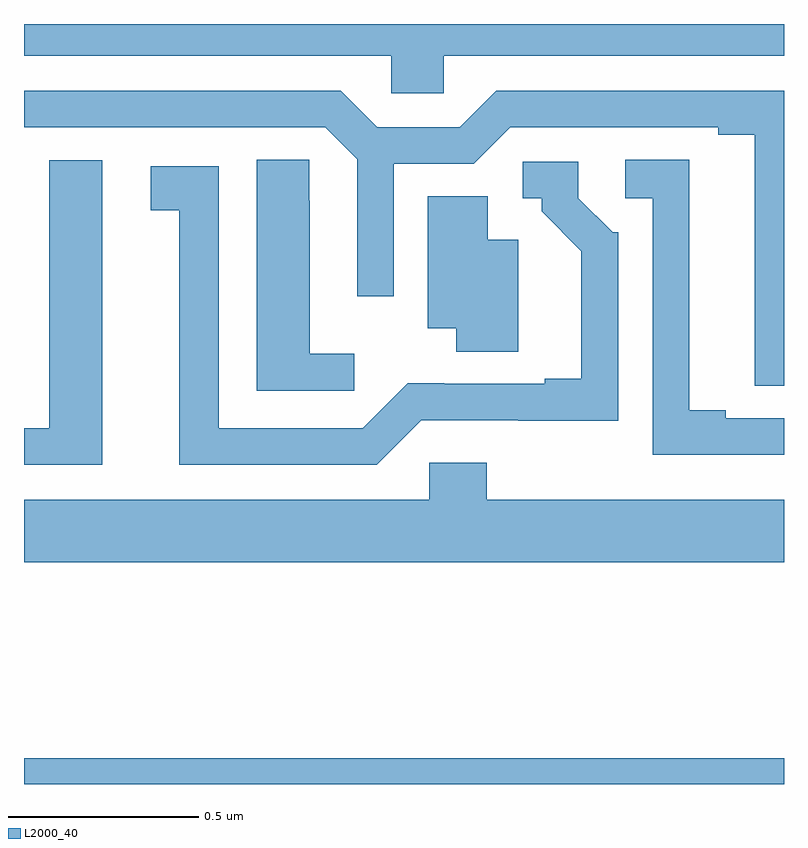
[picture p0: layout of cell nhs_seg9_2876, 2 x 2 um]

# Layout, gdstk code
import gdstk
lib = gdstk.Library(unit=1e-6, precision=1e-09)
def R(c, l, rs):  # rectangles x0, y0, x1, y1
    for r in rs: c.add(gdstk.rectangle(r[:2], r[2:], *l))
def P(c, l, *ps):  # polygons
    for p in ps: c.add(gdstk.Polygon(p, *l))
L2000_40 = (2000, 40)

nhs_seg9_2876 = lib.new_cell('nhs_seg9_2876')
R(nhs_seg9_2876, L2000_40, [(146,1198.5,148,1198.568)])
P(nhs_seg9_2876, L2000_40, [(147.105,1200.416),(148,1200.416),(148,1200.5),(146,1200.5),(146,1200.416),(146.967,1200.416),(146.967,1200.318),(147.105,1200.318)],
  [(148,1200.324),(147.243,1200.324),(147.147,1200.228),(146.929,1200.228),(146.833,1200.324),(146,1200.324),(146,1200.228),(146.793,1200.228),(146.877,1200.144),(146.877,1199.784),(146.973,1199.784),(146.973,1200.132),(147.183,1200.132),(147.279,1200.228),(147.827,1200.228),(147.827,1200.208),(147.923,1200.208),(147.923,1199.548),(148,1199.548)],
  [(146.869,1199.632),(146.752,1199.632),(146.752,1200.035),(146.751,1200.035),(146.751,1200.143),(146.612,1200.143),(146.612,1199.535),(146.869,1199.535)],
  [(148,1199.463),(147.847,1199.463),(147.847,1199.483),(147.751,1199.483),(147.751,1200.143),(147.582,1200.143),(147.582,1200.042),(147.654,1200.042),(147.654,1199.367),(148,1199.367)],
  [(146.206,1200.142),(146.066,1200.142),(146.066,1199.436),(146,1199.436),(146,1199.34),(146.206,1199.34)],
  [(147.045,1199.457),(147.301,1199.457),(147.301,1199.456),(147.564,1199.456),(147.564,1199.952),(147.549,1199.952),(147.459,1200.042),(147.459,1200.138),(147.312,1200.138),(147.312,1200.042),(147.362,1200.042),(147.362,1200.007),(147.467,1199.902),(147.467,1199.566),(147.371,1199.566),(147.371,1199.553),(147.106,1199.553),(147.106,1199.554),(147.01,1199.554),(146.892,1199.436),(146.512,1199.436),(146.512,1200.126),(146.334,1200.126),(146.334,1200.01),(146.408,1200.01),(146.408,1199.34),(146.928,1199.34)],
  [(147.301,1199.932),(147.22,1199.932),(147.22,1200.047),(147.062,1200.047),(147.062,1199.699),(147.137,1199.699),(147.137,1199.638),(147.301,1199.638)],
  [(148,1199.248),(147.218,1199.248),(147.218,1199.346),(147.066,1199.346),(147.066,1199.248),(146,1199.248),(146,1199.084),(148,1199.084)])

lib.write_gds('nhs_seg9_2876.gds')
